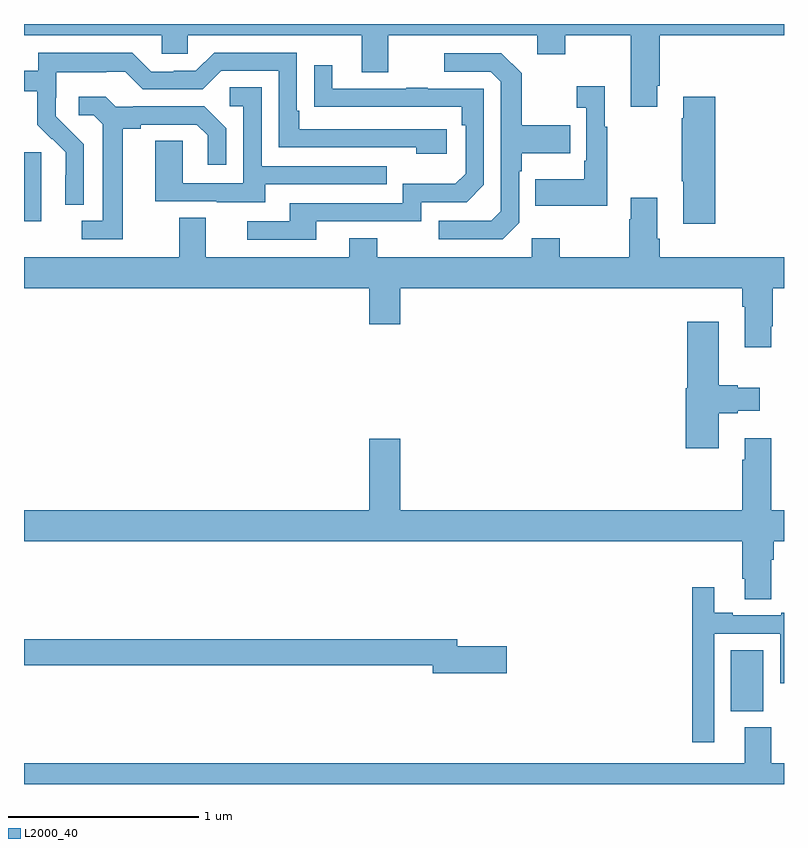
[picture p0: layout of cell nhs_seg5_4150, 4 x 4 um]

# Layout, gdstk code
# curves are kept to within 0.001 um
import gdstk
lib = gdstk.Library(unit=1e-6, precision=1e-09)
def R(c, l, rs):  # rectangles x0, y0, x1, y1
    for r in rs: c.add(gdstk.rectangle(r[:2], r[2:], *l))
def P(c, l, *ps):  # polygons
    for p in ps: c.add(gdstk.Polygon(p, *l))
L2000_40 = (2000, 40)

nhs_seg5_4150 = lib.new_cell('nhs_seg5_4150')
R(nhs_seg5_4150, L2000_40, [(358.721,873.182,358.891,873.502), (355,875.762,355.09,876.123)])
P(nhs_seg5_4150, L2000_40, [(358.333,876.475),(358.346,876.475),(358.346,876.74),(359,876.74),(359,876.799),(355,876.799),(355,876.74),(355.725,876.74),(355.725,876.642),(355.863,876.642),(355.863,876.74),(356.777,876.74),(356.777,876.546),(356.917,876.546),(356.917,876.74),(357.701,876.74),(357.701,876.641),(357.849,876.641),(357.849,876.74),(358.193,876.74),(358.193,876.363),(358.333,876.363)],
  [(355.314,876.166),(355.168,876.314),(355.168,876.411),(355.17,876.411),(355.17,876.545),(355.433,876.545),(355.433,876.549),(355.533,876.549),(355.626,876.456),(355.941,876.456),(356.037,876.552),(356.34,876.552),(356.34,876.15),(357.065,876.15),(357.065,876.116),(357.226,876.116),(357.226,876.246),(356.449,876.246),(356.449,876.343),(356.436,876.343),(356.436,876.648),(356.001,876.648),(355.905,876.552),(355.787,876.552),(355.787,876.549),(355.671,876.549),(355.571,876.649),(355.074,876.649),(355.074,876.552),(355,876.552),(355,876.444),(355.069,876.444),(355.069,876.269),(355.146,876.192),(355.149,876.195),(355.22,876.125),(355.22,876.002),(355.218,876.002),(355.218,875.848),(355.314,875.848)],
  [(357.606,875.754),(357.606,876.023),(357.619,876.023),(357.619,876.119),(357.875,876.119),(357.875,876.267),(357.619,876.267),(357.619,876.539),(357.513,876.645),(357.213,876.645),(357.213,876.549),(357.456,876.549),(357.51,876.495),(357.51,875.814),(357.459,875.763),(357.183,875.763),(357.183,875.667),(357.519,875.667)],
  [(356.539,875.76),(357.09,875.76),(357.09,875.862),(357.33,875.862),(357.42,875.952),(357.42,876.459),(357.125,876.459),(357.125,876.464),(357.013,876.464),(357.013,876.459),(356.623,876.459),(356.623,876.583),(356.527,876.583),(356.527,876.364),(357.304,876.363),(357.304,876.266),(357.324,876.266),(357.324,876.012),(357.271,875.959),(356.994,875.959),(356.994,875.856),(356.399,875.856),(356.399,875.76),(356.175,875.76),(356.175,875.664),(356.539,875.664)],
  [(358.069,876.259),(358.057,876.259),(358.057,876.472),(357.909,876.472),(357.909,876.359),(357.96,876.359),(357.96,876.079),(357.948,876.079),(357.948,875.983),(357.691,875.983),(357.691,875.843),(358.069,875.843)],
  [(356.269,875.955),(356.909,875.955),(356.909,876.051),(356.25,876.051),(356.25,876.467),(356.082,876.467),(356.082,876.366),(356.154,876.366),(356.154,875.961),(355.836,875.961),(355.836,876.185),(355.691,876.185),(355.691,875.865),(356.015,875.865),(356.015,875.861),(356.269,875.861)],
  [(355.519,876.248),(355.615,876.248),(355.615,876.27),(355.91,876.27),(355.967,876.213),(355.967,876.057),(356.064,876.057),(356.064,876.25),(355.948,876.366),(355.576,876.366),(355.576,876.363),(355.482,876.363),(355.43,876.415),(355.287,876.415),(355.287,876.318),(355.368,876.318),(355.415,876.271),(355.415,875.763),(355.305,875.763),(355.305,875.667),(355.519,875.667)],
  [(358.637,876.415),(358.469,876.415),(358.469,876.302),(358.462,876.302),(358.462,875.971),(358.469,875.971),(358.469,875.748),(358.637,875.748)],
  [(358.933,875.209),(358.941,875.209),(358.941,875.408),(359,875.408),(359,875.572),(358.346,875.572),(358.346,875.668),(358.333,875.668),(358.333,875.884),(358.193,875.884),(358.193,875.771),(358.186,875.771),(358.186,875.572),(357.819,875.572),(357.819,875.671),(357.672,875.671),(357.672,875.572),(356.859,875.572),(356.859,875.671),(356.711,875.671),(356.711,875.572),(355.957,875.572),(355.957,875.78),(355.817,875.78),(355.817,875.572),(355,875.572),(355,875.408),(356.816,875.408),(356.816,875.22),(356.98,875.22),(356.98,875.408),(358.781,875.408),(358.781,875.312),(358.793,875.312),(358.793,875.097),(358.933,875.097)],
  [(358.657,874.751),(358.757,874.751),(358.757,874.763),(358.873,874.763),(358.873,874.885),(358.757,874.885),(358.757,874.898),(358.657,874.898),(358.657,875.233),(358.49,875.233),(358.49,874.881),(358.484,874.881),(358.484,874.566),(358.657,874.566)],
  [(358.933,873.98),(358.946,873.98),(358.946,874.076),(359,874.076),(359,874.24),(358.933,874.24),(358.933,874.618),(358.793,874.618),(358.793,874.505),(358.781,874.505),(358.781,874.24),(356.98,874.24),(356.98,874.615),(356.816,874.615),(356.816,874.24),(355,874.24),(355,874.076),(358.781,874.076),(358.781,873.88),(358.793,873.88),(358.793,873.772),(358.933,873.772)],
  [(358.632,873.591),(358.979,873.591),(358.979,873.33),(359,873.33),(359,873.7),(358.985,873.7),(358.985,873.687),(358.729,873.687),(358.729,873.7),(358.633,873.7),(358.633,873.835),(358.516,873.835),(358.516,873.018),(358.632,873.018)],
  [(357.541,873.524),(357.28,873.524),(357.28,873.56),(355,873.56),(355,873.424),(357.152,873.424),(357.152,873.382),(357.541,873.382)],
  [(359,872.908),(358.933,872.908),(358.933,873.097),(358.793,873.097),(358.793,872.908),(355,872.908),(355,872.799),(359,872.799)])

lib.write_gds('nhs_seg5_4150.gds')
